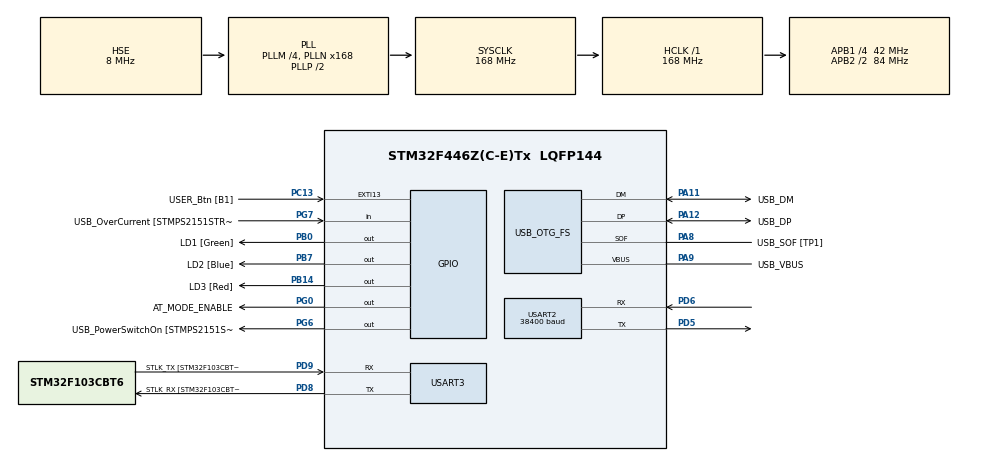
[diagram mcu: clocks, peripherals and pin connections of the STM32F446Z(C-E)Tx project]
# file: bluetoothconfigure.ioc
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Mcu.Family=STM32F4
Mcu.Name=STM32F446Z(C-E)Tx
Mcu.Package=LQFP144
NVIC.PriorityGroup=NVIC_PRIORITYGROUP_4
PA10.GPIO_Label=USB_ID
PA10.Signal=USB_OTG_FS_ID
PA11.GPIO_Label=USB_DM
PA11.Mode=Device_Only
PA11.Signal=USB_OTG_FS_DM
PA12.GPIO_Label=USB_DP
PA12.Mode=Device_Only
PA12.Signal=USB_OTG_FS_DP
PA13.GPIO_Label=TMS
PA13.Mode=Serial_Wire
PA13.Signal=SYS_JTMS-SWDIO
PA14.GPIO_Label=TCK
PA14.Mode=Serial_Wire
PA14.Signal=SYS_JTCK-SWCLK
PA8.GPIO_Label=USB_SOF [TP1]
PA8.Mode=Activate_SOF_FS
PA8.Signal=USB_OTG_FS_SOF
PA9.GPIO_Label=USB_VBUS
PA9.Mode=Activate_VBUS
PA9.Signal=USB_OTG_FS_VBUS
PB0.GPIO_Label=LD1 [Green]
PB0.Signal=GPIO_Output
PB14.GPIO_Label=LD3 [Red]
PB14.Signal=GPIO_Output
PB7.GPIO_Label=LD2 [Blue]
PB7.Signal=GPIO_Output
PC13.GPIO_Label=USER_Btn [B1]
PC13.Signal=GPXTI13
PC14-OSC32_IN.Mode=LSE-External-Oscillator
PC14-OSC32_IN.Signal=RCC_OSC32_IN
PC15-OSC32_OUT.Mode=LSE-External-Oscillator
PC15-OSC32_OUT.Signal=RCC_OSC32_OUT
PD5.Mode=Asynchronous
PD5.Signal=USART2_TX
PD6.Mode=Asynchronous
PD6.Signal=USART2_RX
PD8.GPIO_Label=STLK_RX [STM32F103CBT6_PA3]
PD8.Mode=Asynchronous
PD8.Signal=USART3_TX
PD9.GPIO_Label=STLK_TX [STM32F103CBT6_PA2]
PD9.Mode=Asynchronous
PD9.Signal=USART3_RX
PG0.GPIO_Label=AT_MODE_ENABLE
PG0.Signal=GPIO_Output
PG6.GPIO_Label=USB_PowerSwitchOn [STMPS2151STR_EN]
PG6.Signal=GPIO_Output
PG7.GPIO_Label=USB_OverCurrent [STMPS2151STR_FAULT]
PG7.Signal=GPIO_Input
PH0-OSC_IN.GPIO_Label=MCO [STM32F103CBT6_PA8]
PH0-OSC_IN.Mode=HSE-External-Clock-Source
PH0-OSC_IN.Signal=RCC_OSC_IN
PH1-OSC_OUT.Mode=HSE-External-Clock-Source
PH1-OSC_OUT.Signal=RCC_OSC_OUT
ProjectManager.HeapSize=0x200
ProjectManager.StackSize=0x400
ProjectManager.TargetToolchain=STM32CubeIDE
RCC.48MHZClocksFreq_Value=24000000
RCC.AHBFreq_Value=168000000
RCC.APB1CLKDivider=RCC_HCLK_DIV4
RCC.APB1Freq_Value=42000000
RCC.APB1TimFreq_Value=84000000
RCC.APB2CLKDivider=RCC_HCLK_DIV2
RCC.APB2Freq_Value=84000000
RCC.APB2TimFreq_Value=168000000
RCC.CortexFreq_Value=168000000
RCC.HCLKFreq_Value=168000000
RCC.HSE_VALUE=8000000
RCC.HSI_VALUE=16000000
RCC.PLLM=4
RCC.PLLMUL=RCC_PLL_MUL9
RCC.PLLN=168
RCC.PLLQ=7
RCC.PRESCALERUSB=RCC_USBCLKSOURCE_PLL_DIV1_5
RCC.SYSCLKFreq_VALUE=168000000
RCC.SYSCLKSource=RCC_SYSCLKSOURCE_PLLCLK
RCC.SYSCLKSourceVirtual=RCC_SYSCLKSOURCE_PLLCLK
RCC.USBFreq_Value=48000000
RCC.VCOOutputFreq_Value=336000000
USART2.BaudRate=38400
USART2.VirtualMode=VM_ASYNC
USART3.VirtualMode=VM_ASYNC
USB_OTG_FS.VirtualMode=Device_Only
board=NUCLEO-F446ZE

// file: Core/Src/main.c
/* USER CODE BEGIN Header */
/**
  ******************************************************************************
  * @file           : main.c
  * @brief          : Main program body
  ******************************************************************************
  * @attention
  *
  * Copyright (c) 2024 STMicroelectronics.
  * All rights reserved.
  *
  * This software is licensed under terms that can be found in the LICENSE file
  * in the root directory of this software component.
  * If no LICENSE file comes with this software, it is provided AS-IS.
  *
  ******************************************************************************
  */
/* USER CODE END Header */
#include "main.h"

/* USER CODE BEGIN Includes */
#include "string.h"
#include <stdio.h>
/* USER CODE END Includes */

UART_HandleTypeDef huart2;
UART_HandleTypeDef huart3;

PCD_HandleTypeDef hpcd_USB_OTG_FS;

/* USER CODE BEGIN PV */
char message[100];
/* USER CODE END PV */

void SystemClock_Config(void);
static void MX_GPIO_Init(void);
static void MX_USART3_UART_Init(void);
static void MX_USB_OTG_FS_PCD_Init(void);
static void MX_USART2_UART_Init(void);
/* USER CODE BEGIN PFP */
void masterConfigure();
void slaveConfigure();
/* USER CODE END PFP */

int main(void)
{

  /* MCU Configuration--------------------------------------------------------*/

  /* Reset of all peripherals, Initializes the Flash interface and the Systick. */
  HAL_Init();

  /* Configure the system clock */
  SystemClock_Config();

  /* Initialize all configured peripherals */
  MX_GPIO_Init();
  MX_USART3_UART_Init();
  MX_USB_OTG_FS_PCD_Init();
  MX_USART2_UART_Init();
  /* USER CODE BEGIN 2 */
  masterConfigure();
  /* USER CODE END 2 */

  /* Infinite loop */
  while (1)
  {

  }
}

void SystemClock_Config(void)
{
  RCC_OscInitTypeDef RCC_OscInitStruct = {0};
  RCC_ClkInitTypeDef RCC_ClkInitStruct = {0};

  /** Configure the main internal regulator output voltage
  */
  __HAL_RCC_PWR_CLK_ENABLE();
  __HAL_PWR_VOLTAGESCALING_CONFIG(PWR_REGULATOR_VOLTAGE_SCALE1);

  /** Initializes the RCC Oscillators according to the specified parameters
  * in the RCC_OscInitTypeDef structure.
  */
  RCC_OscInitStruct.OscillatorType = RCC_OSCILLATORTYPE_HSE;
  RCC_OscInitStruct.HSEState = RCC_HSE_BYPASS;
  RCC_OscInitStruct.PLL.PLLState = RCC_PLL_ON;
  RCC_OscInitStruct.PLL.PLLSource = RCC_PLLSOURCE_HSE;
  RCC_OscInitStruct.PLL.PLLM = 4;
  RCC_OscInitStruct.PLL.PLLN = 168;
  RCC_OscInitStruct.PLL.PLLP = RCC_PLLP_DIV2;
  RCC_OscInitStruct.PLL.PLLQ = 7;
  RCC_OscInitStruct.PLL.PLLR = 2;
  if (HAL_RCC_OscConfig(&RCC_OscInitStruct) != HAL_OK)
  {
    Error_Handler();
  }

  /** Initializes the CPU, AHB and APB buses clocks
  */
  RCC_ClkInitStruct.ClockType = RCC_CLOCKTYPE_HCLK|RCC_CLOCKTYPE_SYSCLK
                              |RCC_CLOCKTYPE_PCLK1|RCC_CLOCKTYPE_PCLK2;
  RCC_ClkInitStruct.SYSCLKSource = RCC_SYSCLKSOURCE_PLLCLK;
  RCC_ClkInitStruct.AHBCLKDivider = RCC_SYSCLK_DIV1;
  RCC_ClkInitStruct.APB1CLKDivider = RCC_HCLK_DIV4;
  RCC_ClkInitStruct.APB2CLKDivider = RCC_HCLK_DIV2;

  if (HAL_RCC_ClockConfig(&RCC_ClkInitStruct, FLASH_LATENCY_5) != HAL_OK)
  {
    Error_Handler();
  }
}

static void MX_USART2_UART_Init(void)
{

  huart2.Instance = USART2;
  huart2.Init.BaudRate = 38400;
  huart2.Init.WordLength = UART_WORDLENGTH_8B;
  huart2.Init.StopBits = UART_STOPBITS_1;
  huart2.Init.Parity = UART_PARITY_NONE;
  huart2.Init.Mode = UART_MODE_TX_RX;
  huart2.Init.HwFlowCtl = UART_HWCONTROL_NONE;
  huart2.Init.OverSampling = UART_OVERSAMPLING_16;
  if (HAL_UART_Init(&huart2) != HAL_OK)
  {
    Error_Handler();
  }

}

static void MX_USART3_UART_Init(void)
{

  huart3.Instance = USART3;
  huart3.Init.BaudRate = 115200;
  huart3.Init.WordLength = UART_WORDLENGTH_8B;
  huart3.Init.StopBits = UART_STOPBITS_1;
  huart3.Init.Parity = UART_PARITY_NONE;
  huart3.Init.Mode = UART_MODE_TX_RX;
  huart3.Init.HwFlowCtl = UART_HWCONTROL_NONE;
  huart3.Init.OverSampling = UART_OVERSAMPLING_16;
  if (HAL_UART_Init(&huart3) != HAL_OK)
  {
    Error_Handler();
  }

}

static void MX_USB_OTG_FS_PCD_Init(void)
{

  hpcd_USB_OTG_FS.Instance = USB_OTG_FS;
  hpcd_USB_OTG_FS.Init.dev_endpoints = 6;
  hpcd_USB_OTG_FS.Init.speed = PCD_SPEED_FULL;
  hpcd_USB_OTG_FS.Init.dma_enable = DISABLE;
  hpcd_USB_OTG_FS.Init.phy_itface = PCD_PHY_EMBEDDED;
  hpcd_USB_OTG_FS.Init.Sof_enable = ENABLE;
  hpcd_USB_OTG_FS.Init.low_power_enable = DISABLE;
  hpcd_USB_OTG_FS.Init.lpm_enable = DISABLE;
  hpcd_USB_OTG_FS.Init.vbus_sensing_enable = ENABLE;
  hpcd_USB_OTG_FS.Init.use_dedicated_ep1 = DISABLE;
  if (HAL_PCD_Init(&hpcd_USB_OTG_FS) != HAL_OK)
  {
    Error_Handler();
  }

}

static void MX_GPIO_Init(void)
{
  GPIO_InitTypeDef GPIO_InitStruct = {0};

  /* GPIO Ports Clock Enable */
  __HAL_RCC_GPIOC_CLK_ENABLE();
  __HAL_RCC_GPIOH_CLK_ENABLE();
  __HAL_RCC_GPIOB_CLK_ENABLE();
  __HAL_RCC_GPIOG_CLK_ENABLE();
  __HAL_RCC_GPIOD_CLK_ENABLE();
  __HAL_RCC_GPIOA_CLK_ENABLE();

  /*Configure GPIO pin Output Level */
  HAL_GPIO_WritePin(GPIOB, LD1_Pin|LD3_Pin|LD2_Pin, GPIO_PIN_RESET);

  /*Configure GPIO pin Output Level */
  HAL_GPIO_WritePin(GPIOG, AT_MODE_ENABLE_Pin|USB_PowerSwitchOn_Pin, GPIO_PIN_RESET);

  /*Configure GPIO pin : USER_Btn_Pin */
  GPIO_InitStruct.Pin = USER_Btn_Pin;
  GPIO_InitStruct.Mode = GPIO_MODE_IT_RISING;
  GPIO_InitStruct.Pull = GPIO_NOPULL;
  HAL_GPIO_Init(USER_Btn_GPIO_Port, &GPIO_InitStruct);

  /*Configure GPIO pins : LD1_Pin LD3_Pin LD2_Pin */
  GPIO_InitStruct.Pin = LD1_Pin|LD3_Pin|LD2_Pin;
  GPIO_InitStruct.Mode = GPIO_MODE_OUTPUT_PP;
  GPIO_InitStruct.Pull = GPIO_NOPULL;
  GPIO_InitStruct.Speed = GPIO_SPEED_FREQ_LOW;
  HAL_GPIO_Init(GPIOB, &GPIO_InitStruct);

  /*Configure GPIO pins : AT_MODE_ENABLE_Pin USB_PowerSwitchOn_Pin */
  GPIO_InitStruct.Pin = AT_MODE_ENABLE_Pin|USB_PowerSwitchOn_Pin;
  GPIO_InitStruct.Mode = GPIO_MODE_OUTPUT_PP;
  GPIO_InitStruct.Pull = GPIO_NOPULL;
  GPIO_InitStruct.Speed = GPIO_SPEED_FREQ_LOW;
  HAL_GPIO_Init(GPIOG, &GPIO_InitStruct);

  /*Configure GPIO pin : USB_OverCurrent_Pin */
  GPIO_InitStruct.Pin = USB_OverCurrent_Pin;
  GPIO_InitStruct.Mode = GPIO_MODE_INPUT;
  GPIO_InitStruct.Pull = GPIO_NOPULL;
  HAL_GPIO_Init(USB_OverCurrent_GPIO_Port, &GPIO_InitStruct);

}

/* USER CODE BEGIN 4 */
void sendMessage(char* message) {
	if (HAL_UART_Transmit(&huart2, (uint8_t*)message, strlen(message), 100)!=HAL_OK){
		HAL_GPIO_WritePin(GPIOB, LD2_Pin, GPIO_PIN_SET);
	}
}

void recieveMessage(char* message) {
	if (HAL_UART_Receive(&huart2, (uint8_t*)message, 4, 100)!=HAL_OK){
		HAL_GPIO_WritePin(GPIOB, LD3_Pin, GPIO_PIN_SET);
	}
}

void checkResponse(char* message) {
	if (message[0] != 'O' && message[1] != 'K') {
		HAL_GPIO_WritePin(GPIOB, LD1_Pin, GPIO_PIN_SET);
		while(1) {}
	}
}

void slaveConfigure() {
	//Confirm AT mode
	sprintf(message, "AT\r\n");
	sendMessage(message);
	recieveMessage(message);

	//Check response
	checkResponse(message);

	//Set name
	sprintf(message, "AT+NAME=CAMERA-RECEIVER\r\n");
	sendMessage(message);
	recieveMessage(message);

	//Check response
	checkResponse(message);

	//Set role
	sprintf(message, "AT+ROLE=0\r\n");
	sendMessage(message);
	recieveMessage(message);

	//Check response
	checkResponse(message);

	//Set UART
	sprintf(message, "AT+UART=38400,1,0\r\n");
	sendMessage(message);
	recieveMessage(message);

	//Check response
	checkResponse(message);

	//Check UART
	sprintf(message, "AT+ADDR?\r\n");
	sendMessage(message);
	HAL_UART_Receive(&huart2, (uint8_t*)message, 100, 100);
}

void masterConfigure() {
	//Confirm AT mode
	sprintf(message, "AT\r\n");
	HAL_UART_Transmit(&huart2, (uint8_t*)message, strlen(message), 100);
	HAL_UART_Receive(&huart2, (uint8_t*)message, 4, 100);

	//Check response
	checkResponse(message);

	//Set name
	sprintf(message, "AT+NAME=CAMERA-TRANSMITTER\r\n");
	sendMessage(message);
	recieveMessage(message);

	//Check response
	checkResponse(message);

	//Set role
	sprintf(message, "AT+ROLE=1\r\n");
	sendMessage(message);
	recieveMessage(message);

	//Check response
	checkResponse(message);

	//Set mode
	sprintf(message, "AT+CMODE=0\r\n");
	sendMessage(message);
	recieveMessage(message);

	//Check response
	checkResponse(message);

	//Set fixed address
	sprintf(message, "AT+BIND=0023,00,000394\r\n");
	sendMessage(message);
	recieveMessage(message);

	//Check response
	checkResponse(message);

	//Check fixed address
	sprintf(message, "AT+BIND?\r\n");
	sendMessage(message);
	HAL_UART_Receive(&huart2, (uint8_t*)message, 100, 100);

	//Set Password
	sprintf(message, "AT+PSWD=0000\r\n");
	sendMessage(message);
	recieveMessage(message);

	//Check response
	checkResponse(message);

	//Set UART
	sprintf(message, "AT+UART=38400,1,0\r\n");
	sendMessage(message);
	recieveMessage(message);

	//Check response
	checkResponse(message);
}
/* USER CODE END 4 */

void Error_Handler(void)
{
  __disable_irq();
  while (1)
  {
  }
}
